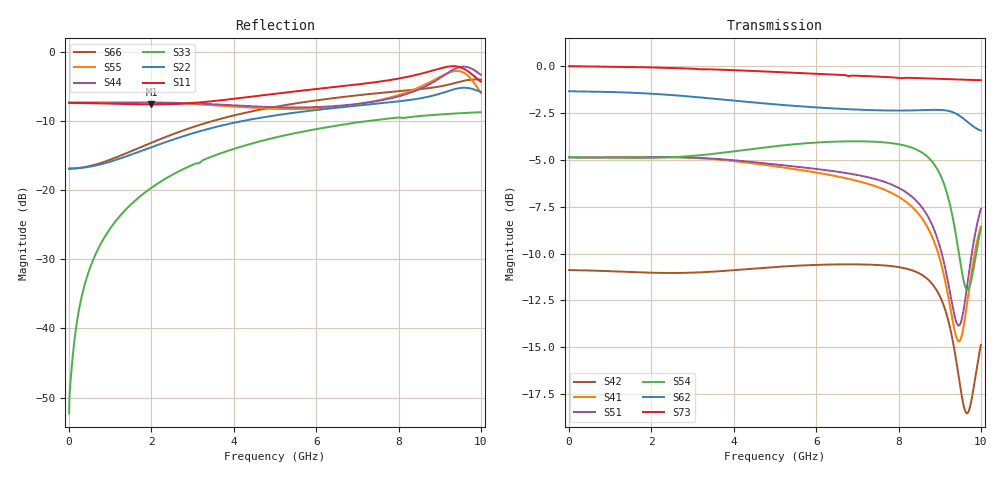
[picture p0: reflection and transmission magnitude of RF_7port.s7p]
! Touchstone file exported from HFSS 2026.1.4
!  File:  D:/Ansys_proj/AD8317_RF_HFSS_KiCad/revisions/pcb_wip_40b50f97/solved_run/AD8317_RF.aedt
!  Generated:  04:39:33 PM Nov  6, 2026
!  Design:  RF_7port
!  Project:  AD8317_RF
# GHz S MA R 50.000000
! Terminal data exported
! Port[1] = P1_SMA
! Port[2] = P2_INHI
! Port[3] = P3_INLO
! Port[4] = P4_R1
! Port[5] = P5_R2
! Port[6] = P6_C1
! Port[7] = P7_C2
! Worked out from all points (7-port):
!   1001 points, 1 MHz to 10 GHz, reference 50 ohm
!   strongest paths, dB at 1 MHz, 2.501 GHz, 5 GHz, 7.5 GHz, 10 GHz:
!     S73: 0.0, -0.1, -0.3, -0.6, -0.8
!     S62: -1.3, -1.5, -2.0, -2.4, -3.4
!     S54: -4.9, -4.9, -4.3, -4.0, -8.6
!     S51: -4.9, -4.9, -5.2, -6.1, -7.6
!     S41: -4.9, -4.9, -5.3, -6.5, -8.6
!     S42: -10.9, -11.0, -10.7, -10.6, -14.9
!   lowest |S11| = -7.6 dB at 2.001 GHz (marker M1), VSWR 2.43, Z = 59.9 + j49.2 ohm
!   |S11| at or under -10 dB: nowhere
